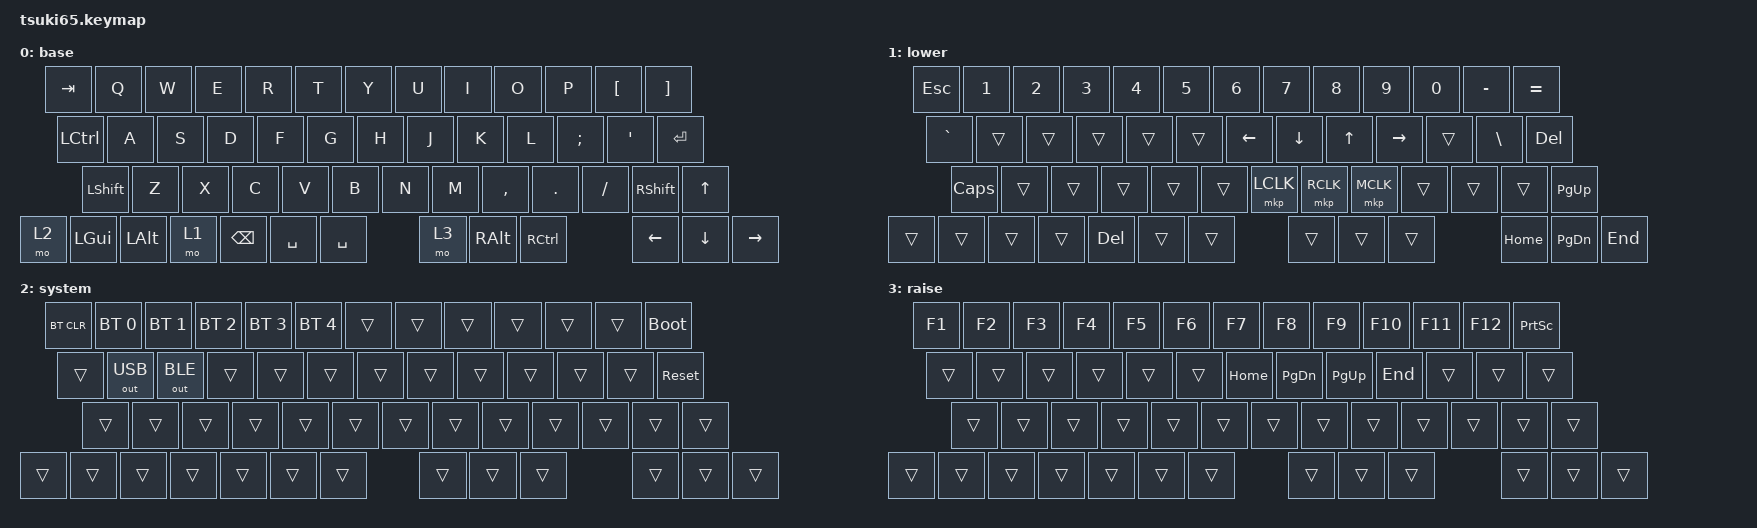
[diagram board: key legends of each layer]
/* generated by scripts/gen_fw.py -- edit freely (or use ZMK Studio) */
#include <behaviors.dtsi>
#include <dt-bindings/zmk/bt.h>
#include <dt-bindings/zmk/keys.h>
#include <dt-bindings/zmk/outputs.h>
#include <dt-bindings/zmk/pointing.h>

/ {
    keymap {
        compatible = "zmk,keymap";

        base {
            bindings = <
&kp TAB         &kp Q           &kp W           &kp E           &kp R           &kp T           &kp Y           &kp U           &kp I           &kp O           &kp P           &kp LBKT        &kp RBKT
&kp LCTRL       &kp A           &kp S           &kp D           &kp F           &kp G           &kp H           &kp J           &kp K           &kp L           &kp SEMI        &kp SQT         &kp RET
&kp LSHFT       &kp Z           &kp X           &kp C           &kp V           &kp B           &kp N           &kp M           &kp COMMA       &kp DOT         &kp FSLH        &kp RSHFT       &kp UP
&mo 2           &kp LGUI        &kp LALT        &mo 1           &kp BSPC        &kp SPACE       &kp SPACE       &mo 3           &kp RALT        &kp RCTRL       &kp LEFT        &kp DOWN        &kp RIGHT
            >;
        };

        lower {
            bindings = <
&kp ESC         &kp N1          &kp N2          &kp N3          &kp N4          &kp N5          &kp N6          &kp N7          &kp N8          &kp N9          &kp N0          &kp MINUS       &kp EQUAL
&kp GRAVE       &trans          &trans          &trans          &trans          &trans          &kp LEFT        &kp DOWN        &kp UP          &kp RIGHT       &trans          &kp BSLH        &kp DEL
&kp CAPS        &trans          &trans          &trans          &trans          &trans          &mkp LCLK       &mkp RCLK       &mkp MCLK       &trans          &trans          &trans          &kp PG_UP
&trans          &trans          &trans          &trans          &kp DEL         &trans          &trans          &trans          &trans          &trans          &kp HOME        &kp PG_DN       &kp END
            >;
        };

        system {
            bindings = <
&bt BT_CLR      &bt BT_SEL 0    &bt BT_SEL 1    &bt BT_SEL 2    &bt BT_SEL 3    &bt BT_SEL 4    &trans          &trans          &trans          &trans          &trans          &trans          &bootloader
&trans          &out OUT_USB    &out OUT_BLE    &trans          &trans          &trans          &trans          &trans          &trans          &trans          &trans          &trans          &sys_reset
&trans          &trans          &trans          &trans          &trans          &trans          &trans          &trans          &trans          &trans          &trans          &trans          &trans
&trans          &trans          &trans          &trans          &trans          &trans          &trans          &trans          &trans          &trans          &trans          &trans          &trans
            >;
        };

        raise {
            bindings = <
&kp F1          &kp F2          &kp F3          &kp F4          &kp F5          &kp F6          &kp F7          &kp F8          &kp F9          &kp F10         &kp F11         &kp F12         &kp PSCRN
&trans          &trans          &trans          &trans          &trans          &trans          &kp HOME        &kp PG_DN       &kp PG_UP       &kp END         &trans          &trans          &trans
&trans          &trans          &trans          &trans          &trans          &trans          &trans          &trans          &trans          &trans          &trans          &trans          &trans
&trans          &trans          &trans          &trans          &trans          &trans          &trans          &trans          &trans          &trans          &trans          &trans          &trans
            >;
        };
    };
};
